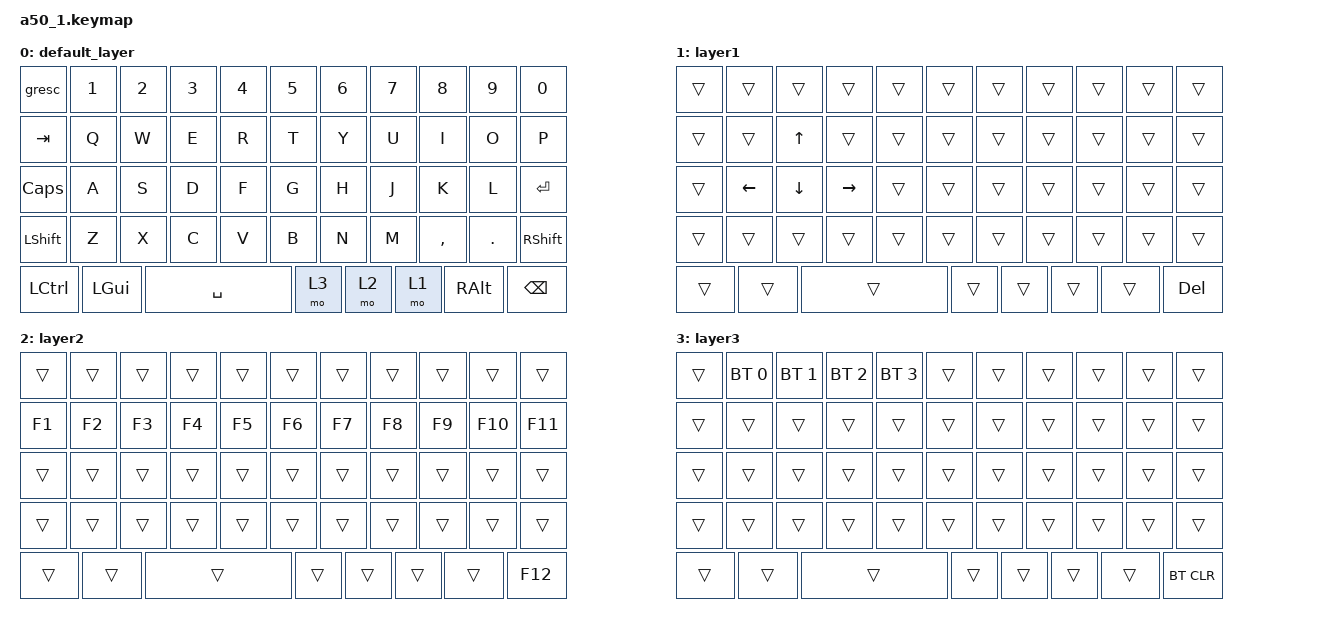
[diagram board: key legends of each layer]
/*
 * Copyright (c) 2021 Nick Winans
 *
 * SPDX-License-Identifier: MIT
 */

#include <behaviors.dtsi>
#include <dt-bindings/zmk/keys.h>
#include <dt-bindings/zmk/rgb.h>
#include <dt-bindings/zmk/bt.h>

/ {
    keymap {
        compatible = "zmk,keymap";

        default_layer {
// --------------------------------------------------------------------------
// | ESC |  1  |  2  |  3  |  4  |  5  |  6  |  7  |  8  |  9  |  0  |
// | TAB |  Q  |  W  |  E  |  R  |  T  |  Y  |  U  |  I  |  O  |  P  |
// | CAPS|  A  |  S  |  D  |  F  |  G  |  H  |  J  |  K  |  L  | ENT |
// |SHIFT|  Z  |  X  |  C  |  V  |  B  |  N  |  M  |  ,  |  .  |SHIFT|
// | CTRL | GUI |      SPACE      | MO3 | MO2 | MO1 | ALT | BSPC |
// --------------------------------------------------------------------------
            bindings = <
                &gresc    &kp N1    &kp N2    &kp N3    &kp N4    &kp N5    &kp N6    &kp N7    &kp N8     &kp N9    &kp N0
                &kp TAB   &kp Q     &kp W     &kp E     &kp R     &kp T     &kp Y     &kp U     &kp I      &kp O     &kp P
                &kp CAPS  &kp A     &kp S     &kp D     &kp F     &kp G     &kp H     &kp J     &kp K      &kp L     &kp RET
                &kp LSHFT &kp Z     &kp X     &kp C     &kp V     &kp B     &kp N     &kp M     &kp COMMA  &kp DOT   &kp RSHFT
                		  &kp LCTRL &kp LGUI  &kp SPACE &mo 3     &mo 2     &mo 1     &kp RALT  					 &kp BSPC
            >;
        };

        layer1 {
// ----------------------------------------------------------------------------------
// |        |    |    |    |    |    |    |    |    |    |     |
// |        |    | UP |    |    |    |    |    |    |    |     |
// |        | LT | DN | RH |    |    |    |    |    |    |     |  
// |        |    |    |    |    |    |    |    |    |    |     |
// |        |    |    |    |    |    |    | DEL|
// ----------------------------------------------------------------------------------
            bindings = <
		&trans        &trans      &trans      &trans      &trans           &trans           &trans           &trans           &trans	&trans	  &trans
		&trans        &trans      &kp UP      &trans      &trans           &trans           &trans           &trans           &trans	&trans	  &trans
		&trans        &kp LEFT    &kp DOWN    &kp RIGHT   &trans           &trans           &trans           &trans           &trans	&trans	  &trans
		&trans        &trans      &trans      &trans      &trans           &trans           &trans           &trans           &trans	&trans	  &trans
		              &trans      &trans      &trans      &trans           &trans           &trans           &trans                               &kp DEL
            >;
        };

        layer2 {
// ----------------------------------------------------------------------------------
// |        |    |    |    |    |    |    |    |    |     |     |
// |   F1   | F2 | F3 | F4 | F5 | F6 | F7 | F8 | F9 | F10 | F11 |
// |        |    |    |    |    |    |    |    |    |     |     |
// |        |    |    |    |    |    |    |    |    |     |     |
// |        |    |    |    |    |    |    |    |    |     | F12 |
// ----------------------------------------------------------------------------------
            bindings = <
		&trans        &trans      &trans      &trans      &trans           &trans           &trans           &trans           &trans	&trans	  &trans
		&kp F1        &kp F2      &kp F3  	  &kp F4      &kp F5           &kp F6           &kp F7           &kp F8 	      &kp F9    &kp F10   &kp F11 		
		&trans        &trans 	  &trans      &trans      &trans           &trans           &trans           &trans           &trans	&trans	  &trans
		&trans        &trans      &trans      &trans      &trans           &trans           &trans           &trans           &trans	&trans	  &trans
					  &trans      &trans      &trans      &trans     	   &trans           &trans           &trans           					  &kp F12
            >;
        };

        layer3 {
// ----------------------------------------------------------------------------------------------------------------
// |			        |  BT_SEL 0  |  BT_SEL 1  |  BT_SEL 2  |  BT_SEL 3  |    |    |    |    |    |		     |
// |			        |  		     |		      | 		   | 		    |    |    |    |    |    |  	     |
// |			        |  		     |		      | 		   | 		    |    |    |    |    |    | 	  	     |
// |			        |   		 | 		      | 		   | 		    |    |    |    |    |    |  	     |
// |			        | 		     |  		  | 		   | 		    |    |    |    |    |    |  BT_CLR   |
// ----------------------------------------------------------------------------------------------------------------
            bindings = <
		&trans        &bt BT_SEL 0     &bt BT_SEL 1      &bt BT_SEL 2     &bt BT_SEL 3           &trans           &trans           &trans           &trans	&trans	  &trans
		&trans        &trans      &trans      &trans      &trans           &trans           &trans           &trans           &trans	&trans	  &trans
		&trans        &trans 	  &trans      &trans      &trans           &trans           &trans           &trans           &trans	&trans	  &trans
		&trans        &trans      &trans      &trans      &trans           &trans           &trans           &trans           &trans	&trans	  &trans
					  &trans              &trans      &trans      &trans     	   &trans           &trans           &trans           					  &bt BT_CLR
            >;
        };
    };
};
